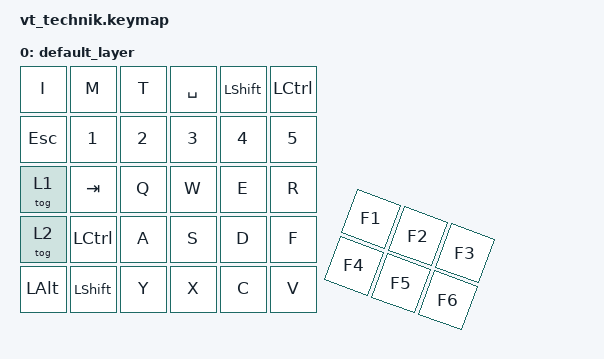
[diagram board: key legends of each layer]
#include <behaviors.dtsi>
#include <dt-bindings/zmk/bt.h>
#include <dt-bindings/zmk/keys.h>
#include <dt-bindings/zmk/outputs.h>

#define ZMK_POINTING_DEFAULT_MOVE_VAL 600  // default: 600
#define ZMK_POINTING_DEFAULT_SCRL_VAL 20    // default: 10     if CONFIG_ZMK_POINTING_SMOOTH_SCROLLING=y default 300


&mt {
    flavor = "tap-preferred";
    tapping-term-ms = <400>;
};

&lt {
    flavor = "balanced";
    tapping-term-ms = <150>;
};


/ {

    conditional_layers {
        compatible = "zmk,conditional-layers";
    };

    keymap {
            compatible = "zmk,keymap";

        default_layer {
            bindings = <
                &kp I        &kp M         &kp T         &kp SPACE     &kp LSHFT       &kp LCTRL
                &kp ESC      &kp N1        &kp N2        &kp N3        &kp N4          &kp N5
                &tog 1       &kp TAB       &kp Q         &kp W         &kp E           &kp R
                &tog 2       &kp LCTRL     &kp A         &kp S         &kp D           &kp F
                &kp LALT     &kp LSHFT     &kp Y         &kp X         &kp C           &kp V
                &kp F1       &kp F2        &kp F3        &kp F4        &kp F5          &kp F6
            >;
        };
    };

};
